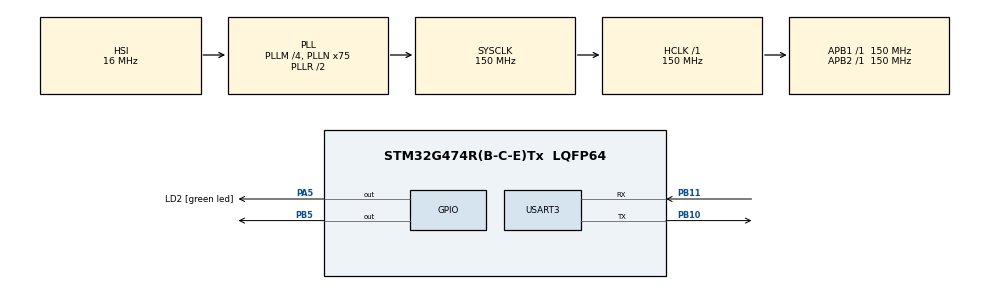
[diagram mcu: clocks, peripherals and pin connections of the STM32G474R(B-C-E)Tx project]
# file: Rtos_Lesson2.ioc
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FREERTOS.Tasks01=defaultTask,24,128,StartDefaultTask,Default,NULL,Dynamic,NULL,NULL;LD2_Task,24,128,LD2TaskFunc,Default,NULL,Dynamic,NULL,NULL;LEDYellow_Task,24,128,YellowLED_Func,Default,NULL,Dynamic,NULL,NULL;Trigonometry,33,128,performTrigonometricCalculations_Func,Default,NULL,Dynamic,NULL,NULL;TaskMemory,24,128,TaskMemory_Func,Default,NULL,Dynamic,NULL,NULL;Fibonachi,24,128,Fibonachi_Func,Default,NULL,Dynamic,NULL,NULL
FREERTOS.configENABLE_FPU=1
FREERTOS.configGENERATE_RUN_TIME_STATS=1
FREERTOS.configRECORD_STACK_HIGH_ADDRESS=1
FREERTOS.configTOTAL_HEAP_SIZE=9216
FREERTOS.configUSE_NEWLIB_REENTRANT=1
FREERTOS.configUSE_STATS_FORMATTING_FUNCTIONS=1
FREERTOS.configUSE_TRACE_FACILITY=1
Mcu.Family=STM32G4
Mcu.Name=STM32G474R(B-C-E)Tx
Mcu.Package=LQFP64
NVIC.PriorityGroup=NVIC_PRIORITYGROUP_4
NVIC.TIM1_TRG_COM_TIM17_IRQn=true\:15\:0\:false\:false\:true\:false\:false\:true\:true
NVIC.TIM4_IRQn=true\:5\:0\:false\:false\:true\:true\:true\:true\:true
NVIC.TimeBase=TIM1_TRG_COM_TIM17_IRQn
NVIC.TimeBaseIP=TIM17
PA13.GPIO_Label=T_SWDIO
PA13.Mode=Trace_Asynchronous_SW
PA13.Signal=SYS_JTMS-SWDIO
PA14.GPIO_Label=T_SWCLK
PA14.Mode=Trace_Asynchronous_SW
PA14.Signal=SYS_JTCK-SWCLK
PA2.GPIO_Label=LPUART1_TX [STLINKV3E_VCP_RX]
PA2.Signal=LPUART1_TX
PA3.GPIO_Label=LPUART1_RX [STLINKV3E_VCP_TX]
PA3.Signal=LPUART1_RX
PA5.GPIO_Label=LD2 [green led]
PA5.Signal=GPIO_Output
PB10.Mode=Asynchronous
PB10.Signal=USART3_TX
PB11.Mode=Asynchronous
PB11.Signal=USART3_RX
PB3.GPIO_Label=T_SWO
PB3.Mode=Trace_Asynchronous_SW
PB3.Signal=SYS_JTDO-SWO
PB5.Signal=GPIO_Output
PC14-OSC32_IN.Mode=LSE-External-Oscillator
PC14-OSC32_IN.Signal=RCC_OSC32_IN
PC15-OSC32_OUT.Mode=LSE-External-Oscillator
PC15-OSC32_OUT.Signal=RCC_OSC32_OUT
PF0-OSC_IN.Mode=HSE-External-Oscillator
PF0-OSC_IN.Signal=RCC_OSC_IN
PF1-OSC_OUT.Mode=HSE-External-Oscillator
PF1-OSC_OUT.Signal=RCC_OSC_OUT
ProjectManager.HeapSize=0x200
ProjectManager.StackSize=0x400
ProjectManager.TargetToolchain=STM32CubeIDE
RCC.ADC12Freq_Value=150000000
RCC.ADC345Freq_Value=150000000
RCC.AHBFreq_Value=150000000
RCC.APB1Freq_Value=150000000
RCC.APB1TimFreq_Value=150000000
RCC.APB2Freq_Value=150000000
RCC.APB2TimFreq_Value=150000000
RCC.CortexFreq_Value=150000000
RCC.EXTERNAL_CLOCK_VALUE=12288000
RCC.HCLKFreq_Value=150000000
RCC.HSE_VALUE=24000000
RCC.HSI48_VALUE=48000000
RCC.HSI_VALUE=16000000
RCC.PLLM=RCC_PLLM_DIV4
RCC.PLLN=75
RCC.RTCClockSelection=RCC_RTCCLKSOURCE_LSE
RCC.SYSCLKFreq_VALUE=150000000
RCC.SYSCLKSource=RCC_SYSCLKSOURCE_PLLCLK
RCC.USBFreq_Value=150000000
RCC.VCOOutputFreq_Value=300000000
TIM4.PeriodNoDither=0
TIM4.Prescaler=6553
USART3.AutoBaudRateEnableParam=UART_ADVFEATURE_AUTOBAUDRATE_ENABLE
USART3.DataInvertParam=ADVFEATURE_DATAINV_DISABLE
USART3.MSBFirstParam=ADVFEATURE_MSBFIRST_DISABLE
USART3.Parity=PARITY_NONE
USART3.VirtualMode-Asynchronous=VM_ASYNC
VP_FREERTOS_VS_CMSIS_V2.Mode=CMSIS_V2
VP_SYS_VS_DBSignals.Mode=DisableDeadBatterySignals
VP_SYS_VS_tim17.Mode=TIM17
VP_TIM4_VS_ClockSourceINT.Mode=Internal
board=NUCLEO-G474RE

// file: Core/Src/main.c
/* USER CODE BEGIN Header */
/**
 ******************************************************************************
 * @file           : main.c
 * @brief          : Main program body
 ******************************************************************************
 * @attention
 *
 * Copyright (c) 2023 STMicroelectronics.
 * All rights reserved.
 *
 * This software is licensed under terms that can be found in the LICENSE file
 * in the root directory of this software component.
 * If no LICENSE file comes with this software, it is provided AS-IS.
 *
 ******************************************************************************
 */
/* USER CODE END Header */
#include "main.h"
#include "cmsis_os.h"
#include "tim.h"
#include "usart.h"
#include "gpio.h"

/* USER CODE BEGIN Includes */
#include "SEGGER_RTT.h"
#include "SEGGER_SYSVIEW.h"
/* USER CODE END Includes */

/* USER CODE BEGIN PTD */
typedef uint32_t TaskProfiler;

/* USER CODE END PTD */

/* USER CODE BEGIN PV */
TaskProfiler Task_LD2_Profiler, YELLOW_Profiler, Default_Profiler, TriProfiler,
    FibProfiler, MemProfiler;
uint32_t LD2_Period = 10;
uint32_t YELLOW_Period = 30;
volatile uint32_t freemem;
volatile uint32_t minfreemem;
char pcWriteBuffer[512];

/* USER CODE END PV */

void SystemClock_Config(void);
void MX_FREERTOS_Init(void);

/* USER CODE BEGIN 0 */
//int _write(int file, char *ptr, int len) {
//  // Ваш код для передачи данных через UART
//  // Например, используйте HAL_UART_Transmit() для отправки данных
//  // Что-то вроде:
//  HAL_UART_Transmit(&huart1, (uint8_t*) ptr, len, HAL_MAX_DELAY);
//
//  // Верните количество отправленных байтов
//  return len;
//}
/* USER CODE END 0 */

int main(void) {

  /* MCU Configuration--------------------------------------------------------*/

  /* Reset of all peripherals, Initializes the Flash interface and the Systick. */
  HAL_Init();

  /* Configure the system clock */
  SystemClock_Config();

  /* Initialize all configured peripherals */
  MX_GPIO_Init();
  MX_USART3_UART_Init();
  MX_TIM4_Init();

  /* Init scheduler */
  osKernelInitialize(); /* Call init function for freertos objects (in freertos.c) */
  MX_FREERTOS_Init();

  /* Start scheduler */
  osKernelStart();
  /* We should never get here as control is now taken by the scheduler */
  /* Infinite loop */
  while (1) {

  }
}

void SystemClock_Config(void) {
  RCC_OscInitTypeDef RCC_OscInitStruct = { 0 };
  RCC_ClkInitTypeDef RCC_ClkInitStruct = { 0 };

  /** Configure the main internal regulator output voltage
   */
  HAL_PWREx_ControlVoltageScaling(PWR_REGULATOR_VOLTAGE_SCALE1);

  /** Initializes the RCC Oscillators according to the specified parameters
   * in the RCC_OscInitTypeDef structure.
   */
  RCC_OscInitStruct.OscillatorType = RCC_OSCILLATORTYPE_HSI;
  RCC_OscInitStruct.HSIState = RCC_HSI_ON;
  RCC_OscInitStruct.HSICalibrationValue = RCC_HSICALIBRATION_DEFAULT;
  RCC_OscInitStruct.PLL.PLLState = RCC_PLL_ON;
  RCC_OscInitStruct.PLL.PLLSource = RCC_PLLSOURCE_HSI;
  RCC_OscInitStruct.PLL.PLLM = RCC_PLLM_DIV4;
  RCC_OscInitStruct.PLL.PLLN = 75;
  RCC_OscInitStruct.PLL.PLLP = RCC_PLLP_DIV2;
  RCC_OscInitStruct.PLL.PLLQ = RCC_PLLQ_DIV2;
  RCC_OscInitStruct.PLL.PLLR = RCC_PLLR_DIV2;
  if (HAL_RCC_OscConfig(&RCC_OscInitStruct) != HAL_OK) {
    Error_Handler();
  }

  /** Initializes the CPU, AHB and APB buses clocks
   */
  RCC_ClkInitStruct.ClockType = RCC_CLOCKTYPE_HCLK | RCC_CLOCKTYPE_SYSCLK
      | RCC_CLOCKTYPE_PCLK1 | RCC_CLOCKTYPE_PCLK2;
  RCC_ClkInitStruct.SYSCLKSource = RCC_SYSCLKSOURCE_PLLCLK;
  RCC_ClkInitStruct.AHBCLKDivider = RCC_SYSCLK_DIV1;
  RCC_ClkInitStruct.APB1CLKDivider = RCC_HCLK_DIV1;
  RCC_ClkInitStruct.APB2CLKDivider = RCC_HCLK_DIV1;

  if (HAL_RCC_ClockConfig(&RCC_ClkInitStruct, FLASH_LATENCY_4) != HAL_OK) {
    Error_Handler();
  }
}

void HAL_TIM_PeriodElapsedCallback(TIM_HandleTypeDef *htim) {
  if (htim->Instance == TIM17) {
    HAL_IncTick();
  }
}

void Error_Handler(void) {
  __disable_irq();
  while (1) {
  }
}

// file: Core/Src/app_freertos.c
/* USER CODE BEGIN Header */
/**
 ******************************************************************************
 * File Name          : app_freertos.c
 * Description        : Code for freertos applications
 ******************************************************************************
 * @attention
 *
 * Copyright (c) 2023 STMicroelectronics.
 * All rights reserved.
 *
 * This software is licensed under terms that can be found in the LICENSE file
 * in the root directory of this software component.
 * If no LICENSE file comes with this software, it is provided AS-IS.
 *
 ******************************************************************************
 */
/* USER CODE END Header */

#include "FreeRTOS.h"
#include "task.h"
#include "main.h"
#include "cmsis_os.h"

/* USER CODE BEGIN Includes */

#include <math.h>
#include <stdbool.h>
#include <stdint.h>
#include <stdio.h>
#include <stm32g4xx_hal_uart.h>
#include <usart.h>
#include "SEGGER_RTT.h"
#include "SEGGER_SYSVIEW.h"
#include <string.h>

#define YELLOW_PIN                              GPIO_PIN_5
#define YELLOW_GPIO_PORT                        GPIOB
//#define SOFTWARE_DEBUG 1

#if SOFTWARE_DEBUG == 1

extern volatile int freemem;
extern volatile int minfreemem;
extern char pcWriteBuffer[512];

#endif

/* USER CODE END Includes */

/* USER CODE BEGIN Variables */

extern uint32_t LD2_Period, YELLOW_Period;
extern uint32_t Task_LD2_Profiler, YELLOW_Profiler, Default_Profiler,
    TriProfiler, FibProfiler, MemProfiler;

extern HAL_StatusTypeDef HAL_UART_Transmit(UART_HandleTypeDef *huart,
    const uint8_t *pData, uint16_t Size, uint32_t Timeout);
extern UART_HandleTypeDef huart3;

double resulttrigon;
uint32_t resultFibon;
uint32_t resultPrimeNumbers;

uint32_t count = 0;
uint32_t number;
char buffer[512];
uint16_t NumberOfTasks;

struct name_t {
  const char *profiler_LD2;
  const char *profiler_Yellow;
  const char *profiler_Default;
};

struct name_t profiler_name =
    { .profiler_LD2 = "Profiler_LD2", .profiler_Yellow = "Profiler_Yellow",
        .profiler_Default = "Profiler_Default" };

/******SEGGER_RTT add channel 1: log ************/
static uint8_t logBuffer[32];

// Change this to adjust the number of Fibonacci numbers to calculate
uint32_t fibonacciNumber = 3000;

/* USER CODE END Variables */
/* Definitions for defaultTask */
osThreadId_t defaultTaskHandle;
const osThreadAttr_t defaultTask_attributes = { .name = "defaultTask",
    .priority = (osPriority_t) osPriorityNormal, .stack_size = 128 * 4 };
/* Definitions for LD2_Task */
osThreadId_t LD2_TaskHandle;
const osThreadAttr_t LD2_Task_attributes = { .name = "LD2_Task", .priority =
    (osPriority_t) osPriorityNormal, .stack_size = 128 * 4 };
/* Definitions for LEDYellow_Task */
osThreadId_t LEDYellow_TaskHandle;
const osThreadAttr_t LEDYellow_Task_attributes = { .name = "LEDYellow_Task",
    .priority = (osPriority_t) osPriorityNormal, .stack_size = 128 * 4 };
/* Definitions for Trigonometry */
osThreadId_t TrigonometryHandle;
const osThreadAttr_t Trigonometry_attributes = { .name = "Trigonometry",
    .priority = (osPriority_t) osPriorityAboveNormal1, .stack_size = 128 * 4 };
/* Definitions for TaskMemory */
osThreadId_t TaskMemoryHandle;
const osThreadAttr_t TaskMemory_attributes = { .name = "TaskMemory", .priority =
    (osPriority_t) osPriorityNormal, .stack_size = 128 * 4 };
/* Definitions for Fibonachi */
osThreadId_t FibonachiHandle;
const osThreadAttr_t Fibonachi_attributes = { .name = "Fibonachi", .priority =
    (osPriority_t) osPriorityNormal, .stack_size = 128 * 4 };

void StartDefaultTask(void *argument);
void LD2TaskFunc(void *argument);
void YellowLED_Func(void *argument);
void performTrigonometricCalculations_Func(void *argument);
void TaskMemory_Func(void *argument);
void Fibonachi_Func(void *argument);

void MX_FREERTOS_Init(void); /* (MISRA C 2004 rule 8.1) */

/* Hook prototypes */
void configureTimerForRunTimeStats(void);
unsigned long getRunTimeCounterValue(void);

/* USER CODE BEGIN 1 */

// Function to perform trigonometric calculations
void performTrigonometricCalculations() {
  const int numIterations = 10000;

  for (int i = 0; i < numIterations; i++) {
    // Perform trigonometric calculation
    resulttrigon = sin(i) + cos(i) / tan(i);
  }
}

// Function to check if a number is prime
bool isPrime(int number) {
  if (number <= 1) {
    return false;
  }

  for (int i = 2; i * i <= number; i++) {
    if (number % i == 0) {
      return false;
    }
  }

  return true;
}

// Function to generate prime numbers
uint32_t generatePrimeNumbers() {
  const uint64_t maxNumber = 1000000000;
  size_t count = 0;

  for (number = 2; number <= maxNumber; number++) {
    if (isPrime(number)) {
      //   printf("%ld\n", number);
      count++;
    }
  }
  return isPrime(number);
}

// Function to calculate the Fibonacci sequence
uint32_t fibonacci(uint32_t n) {
  if (n == 0) {
    return 0;
  } else if (n == 1) {
    return 1;
  } else {
    uint32_t a = 0;
    uint32_t b = 1;
    uint32_t c;

    for (uint32_t i = 2; i <= n; ++i) {
      c = a + b;
      a = b;
      b = c;
    }

    return b;
  }
}

//extern int _write(int file, char *ptr, int len);
//int _write(int file, char *ptr, int len) {
//  // Ваш код для передачи данных через UART
//  // Например, используйте HAL_UART_Transmit() для отправки данных
//  // Что-то вроде:
//  HAL_UART_Transmit(&huart1, (uint8_t*) ptr, len, HAL_MAX_DELAY);
//
//  // Верните количество отправленных байтов
//  return len;
//}

/* Functions needed when configGENERATE_RUN_TIME_STATS is on */
__weak void configureTimerForRunTimeStats(void) {

}
__weak unsigned long getRunTimeCounterValue(void) {
  return 0;
}

void vPrintStringAndNumber(uint32_t value, const char *profilerName) {
  snprintf(buffer, sizeof(buffer), "Profiler: %s, Value: %ld\n", profilerName,
      value);
  HAL_UART_Transmit(&huart3, (uint8_t*) buffer, strlen(buffer), HAL_MAX_DELAY);
}

/* USER CODE END 1 */

void MX_FREERTOS_Init(void) {

  /* Create the thread(s) */
  /* creation of defaultTask */
  defaultTaskHandle = osThreadNew(StartDefaultTask, NULL,
      &defaultTask_attributes);

  /* creation of LD2_Task */
  LD2_TaskHandle = osThreadNew(LD2TaskFunc, NULL, &LD2_Task_attributes);

  /* creation of LEDYellow_Task */
  LEDYellow_TaskHandle = osThreadNew(YellowLED_Func, NULL,
      &LEDYellow_Task_attributes);

  /* creation of Trigonometry */
  TrigonometryHandle = osThreadNew(performTrigonometricCalculations_Func, NULL,
      &Trigonometry_attributes);

  /* creation of TaskMemory */
  TaskMemoryHandle = osThreadNew(TaskMemory_Func, NULL, &TaskMemory_attributes);

  /* creation of Fibonachi */
  FibonachiHandle = osThreadNew(Fibonachi_Func, NULL, &Fibonachi_attributes);

  /* USER CODE BEGIN RTOS_THREADS */
  /* add threads, ... */

  vTaskStartScheduler();
  /* USER CODE END RTOS_THREADS */

}

/* USER CODE BEGIN Header_StartDefaultTask */
/**
 * @brief  Function implementing the defaultTask thread.
 * @param  argument: Not used
 * @retval None
 */

/*++++++++++++++++++++++++++++++++++++++++++++++++++++++++++++++*/

/* USER CODE END Header_StartDefaultTask */
void StartDefaultTask(void *argument) {
  /* USER CODE BEGIN StartDefaultTask */
  /* Infinite loop */
  SEGGER_RTT_Init();
#if SOFTWARE_DEBUG == 1

  SEGGER_RTT_ConfigUpBuffer(1, "Log", logBuffer, sizeof(logBuffer),
  SEGGER_RTT_MODE_NO_BLOCK_TRIM);
//  SEGGER_RTT_ConfigUpBuffer(0, NULL, NULL, 0,
//  SEGGER_RTT_MODE_NO_BLOCK_TRIM);
  SEGGER_RTT_SetTerminal(0);
  SEGGER_RTT_printf(0, "DefaultTask\r\n");
#endif
  for (;;) {
    Default_Profiler++;
    vPrintStringAndNumber(Default_Profiler, profiler_name.profiler_Default);
#if SOFTWARE_DEBUG == 1
//    SEGGER_RTT_SetTerminal(0);
//    SEGGER_RTT_printf(0, "Default_Profiler = %d\n", Default_Profiler);
#endif
    if (LD2_Period == 100) {
      LD2_Period = 1000;
      YELLOW_Period = LD2_Period / 3;
    } else
      LD2_Period = 100;
    YELLOW_Period = LD2_Period * 3;
    vTaskDelay(5000);
  }

  /* USER CODE END StartDefaultTask */
}

/*++++++++++++++++++++++++++++++++++++++++++++++++++++++++++++++*/

void LD2TaskFunc(void *argument) {
  /* USER CODE BEGIN LD2TaskFunc */
  /* Infinite loop */
  for (;;) {
    Task_LD2_Profiler++;
    vPrintStringAndNumber(Task_LD2_Profiler, profiler_name.profiler_LD2);
    HAL_GPIO_TogglePin(LD2_GPIO_Port, LD2_Pin);
    vTaskDelay(LD2_Period);
  }
  /* USER CODE END LD2TaskFunc */
}

/*++++++++++++++++++++++++++++++++++++++++++++++++++++++++++++++*/

void YellowLED_Func(void *argument) {
  /* USER CODE BEGIN YellowLED_Func */
  /* Infinite loop */
  for (;;) {
    YELLOW_Profiler++;
    vPrintStringAndNumber(YELLOW_Profiler, profiler_name.profiler_Yellow);
    HAL_GPIO_TogglePin(YELLOW_GPIO_PORT, YELLOW_PIN);
    vTaskDelay(YELLOW_Period);
  }
  /* USER CODE END YellowLED_Func */
}

/*++++++++++++++++++++++++++++++++++++++++++++++++++++++++++++++*/

void performTrigonometricCalculations_Func(void *argument) {
  /* USER CODE BEGIN performTrigonometricCalculations_Func */
  /* Infinite loop */
  for (;;) {
    TriProfiler++;
    performTrigonometricCalculations();
    vTaskDelay(1);
  }
  /* USER CODE END performTrigonometricCalculations_Func */
}

/*++++++++++++++++++++++++++++++++++++++++++++++++++++++++++++++*/

void TaskMemory_Func(void *argument) {
  /* USER CODE BEGIN TaskMemory_Func */
  /* Infinite loop */
  SEGGER_SYSVIEW_Conf(); /* Configure and initialize SystemView */
  for (;;) {
#if SOFTWARE_DEBUG == 1
//    /* add channel 1: log */
//    SEGGER_RTT_ConfigUpBuffer(1, "Log", logBuffer, sizeof(logBuffer),
//    SEGGER_RTT_MODE_NO_BLOCK_TRIM);
    MemProfiler++;
    freemem = xPortGetFreeHeapSize();
    minfreemem = xPortGetMinimumEverFreeHeapSize();
    NumberOfTasks = uxTaskGetNumberOfTasks();
    //vTaskGetRunTimeStats(pcWriteBuffer);
    vTaskList(pcWriteBuffer);
    SEGGER_RTT_SetTerminal(0);
    SEGGER_RTT_WriteString(0, pcWriteBuffer);
    SEGGER_RTT_printf(0, "___________________________\r\n");

#endif
    vTaskDelay(300);
  }
  /* USER CODE END TaskMemory_Func */
}

/*++++++++++++++++++++++++++++++++++++++++++++++++++++++++++++++*/

void Fibonachi_Func(void *argument) {
  /* USER CODE BEGIN Fibonachi_Func */
  /* Infinite loop */
  for (;;) {
    FibProfiler++;
    resultFibon = fibonacci(fibonacciNumber);
    //    printf("Fibonacci number at position %ld: %ld\n", fibonacciNumber,
    //        resultFibon);
    vTaskDelay(1);
  }
  /* USER CODE END Fibonachi_Func */
}
